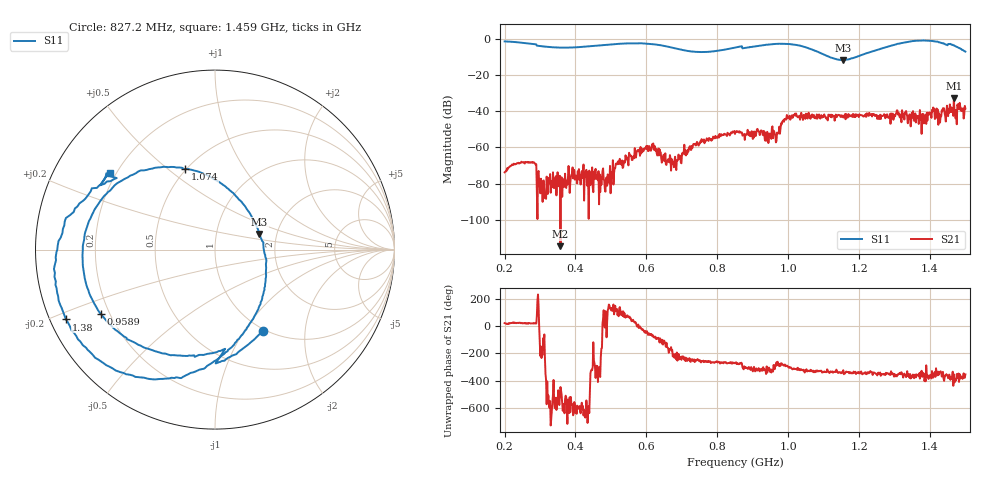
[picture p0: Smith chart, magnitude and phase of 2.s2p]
! NanoVNA-App
! Date: 2024-06-25 16:49:43
! Start: 200MHz Stop: 1.5GHz Points: 801
! S-Parameter data: F S11 S21 S12 S22
# Hz S RI R 50
!  Frequency  S11_Real  S11_Imag  S21_Real  S21_Imag  S12_Real  S12_Imag  S22_Real  S22_Imag
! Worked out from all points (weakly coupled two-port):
!   801 points, 200 MHz to 1.5 GHz, reference 50 ohm
!   highest |S21| = -32.74 dB at 1.468 GHz (marker M1); lowest = -114.7 dB at 357.6 MHz (marker M2)
!   lowest |S11| = -11.6 dB at 1.154 GHz (marker M3), VSWR 1.71, Z = 81.1 + j15.3 ohm
!   |S11| at or under -10 dB: 1.118 GHz to 1.191 GHz (73.11 MHz wide, 6.33 % of centre)
!   S12 and S22 are empty: the file has one direction only
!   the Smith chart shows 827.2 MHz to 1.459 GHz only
!   S11 on the Smith chart (normalised r, x): 827.2 MHz: 0.97, -1.22; 958.9 MHz: 0.17, -0.26; 1.074 GHz: 0.49, +0.57; 1.38 GHz: 0.05, -0.22; 1.459 GHz: 0.18, +0.32
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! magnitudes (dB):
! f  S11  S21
! 200 MHz  -1.3  -73.8
! 278 MHz  -2.7  -68.0
! 304 MHz  -4.0  -79.5
! 357.6 MHz  -4.7  -114.7
! 417.8 MHz  -4.3  -73.1
! 489.2 MHz  -3.2  -81.2
! 573.8 MHz  -2.3  -61.9
! 633.9 MHz  -3.2  -60.6
! 681 MHz  -5.1  -65.2
! 737.9 MHz  -7.0  -58.0
! 827.2 MHz  -5.6  -53.7
! 850 MHz  -4.7  -52.6
! 958.9 MHz  -2.7  -50.7
! 997.9 MHz  -2.7  -43.3
! 1.068 GHz  -5.8  -41.7
! 1.074 GHz  -6.4  -43.8
! 1.154 GHz  -11.6  -42.4
! 1.284 GHz  -4.0  -43.7
! 1.38 GHz  -0.8  -43.7
! 1.459 GHz  -2.8  -40.4
! 1.468 GHz  -3.5  -32.7
! 1.5 GHz  -6.9  -38.5
